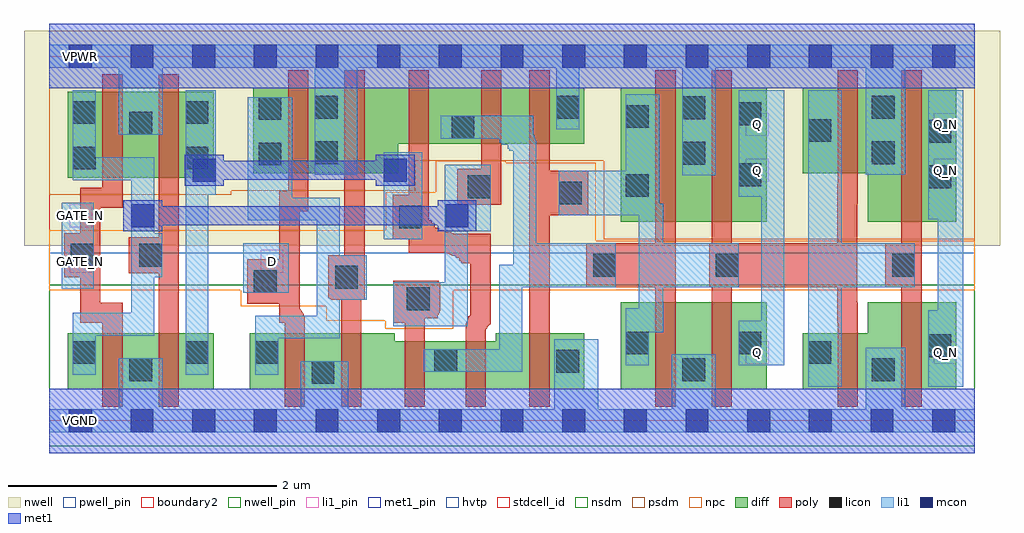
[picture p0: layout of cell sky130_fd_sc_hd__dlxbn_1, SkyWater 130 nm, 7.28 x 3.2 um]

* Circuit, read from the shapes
.subckt sky130_fd_sc_hd__dlxbn_1 D GATE_N Q Q_N VGND VNB VPB VPWR
XM1 VGND GATE_N n1 VNB sky130_fd_pr__nfet_01v8 w=0.42 l=0.15
XM2 n2 n1 VGND VNB sky130_fd_pr__nfet_01v8 w=0.42 l=0.15
XM3 VGND D n3 VNB sky130_fd_pr__nfet_01v8 w=0.42 l=0.15
XM4 n4 n3 VGND VNB sky130_fd_pr__nfet_01v8 w=0.42 l=0.15
XM5 n5 n1 n4 VNB sky130_fd_pr__nfet_01v8 w=0.36 l=0.15
XM6 n6 n2 n5 VNB sky130_fd_pr__nfet_01v8 w=0.36 l=0.15
XM7 VGND n7 n6 VNB sky130_fd_pr__nfet_01v8 w=0.42 l=0.15
XM8 VGND n5 n7 VNB sky130_fd_pr__nfet_01v8 w=0.65 l=0.15
XM9 Q n7 VGND VNB sky130_fd_pr__nfet_01v8 w=0.65 l=0.15
XM10 VGND n7 n8 VNB sky130_fd_pr__nfet_01v8 w=0.42 l=0.15
XM11 Q_N n8 VGND VNB sky130_fd_pr__nfet_01v8 w=0.65 l=0.15
XM12 VPWR GATE_N n1 VPB sky130_fd_pr__pfet_01v8_hvt w=0.64 l=0.15
XM13 n2 n1 VPWR VPB sky130_fd_pr__pfet_01v8_hvt w=0.64 l=0.15
XM14 VPWR D n3 VPB sky130_fd_pr__pfet_01v8_hvt w=0.64 l=0.15
XM15 n9 n3 VPWR VPB sky130_fd_pr__pfet_01v8_hvt w=0.64 l=0.15
XM16 n5 n2 n9 VPB sky130_fd_pr__pfet_01v8_hvt w=0.42 l=0.15
XM17 n10 n1 n5 VPB sky130_fd_pr__pfet_01v8_hvt w=0.42 l=0.15
XM18 VPWR n7 n10 VPB sky130_fd_pr__pfet_01v8_hvt w=0.42 l=0.15
XM19 VPWR n5 n7 VPB sky130_fd_pr__pfet_01v8_hvt w=1 l=0.15
XM20 Q n7 VPWR VPB sky130_fd_pr__pfet_01v8_hvt w=1 l=0.15
XM21 VPWR n7 n8 VPB sky130_fd_pr__pfet_01v8_hvt w=0.64 l=0.15
XM22 Q_N n8 VPWR VPB sky130_fd_pr__pfet_01v8_hvt w=1 l=0.15
.ends

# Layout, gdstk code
import gdstk
lib = gdstk.Library(unit=1e-6, precision=1e-09)
def R(c, l, rs):  # rectangles x0, y0, x1, y1
    for r in rs: c.add(gdstk.rectangle(r[:2], r[2:], *l))
def A(c, l, x, y, w, h, nx, ny, dx, dy):  # array of equal rectangles
    R(c, l, [(x+i*dx, y+j*dy, x+i*dx+w, y+j*dy+h) for i in range(nx) for j in range(ny)])
def P(c, l, *ps):  # polygons
    for p in ps: c.add(gdstk.Polygon(p, *l))
nwell_pin = (64, 16)
nwell = (64, 20)
diff = (65, 20)
poly = (66, 20)
licon = (66, 44)
li1_pin = (67, 16)
li1 = (67, 20)
mcon = (67, 44)
met1_pin = (68, 16)
met1 = (68, 20)
hvtp = (78, 44)
stdcell_id = (81, 4)
nsdm = (93, 44)
psdm = (94, 20)
npc = (95, 20)
pwell_pin = (122, 16)
boundary2 = (236, 0)

sky130_fd_sc_hd__dlxbn_1 = lib.new_cell('sky130_fd_sc_hd__dlxbn_1')
R(sky130_fd_sc_hd__dlxbn_1, nwell_pin, [(0.15,2.635,0.32,2.805), (0.15,2.635,0.32,2.805)])
R(sky130_fd_sc_hd__dlxbn_1, nwell, [(-0.19,1.305,7.09,2.91)])
R(sky130_fd_sc_hd__dlxbn_1, diff, [(0.135,0.235,1.225,0.655), (4.26,0.235,5.35,0.885), (4.26,1.485,5.35,2.485), (0.135,1.815,1.225,2.455)])
P(sky130_fd_sc_hd__dlxbn_1, diff, [(3.99,2.485),(1.52,2.485),(1.52,1.845),(2.6,1.845),(2.6,2.065),(3.99,2.065)],
  [(3.99,0.655),(3.33,0.655),(3.33,0.595),(2.575,0.595),(2.575,0.655),(1.495,0.655),(1.495,0.235),(3.99,0.235)],
  [(6.765,2.485),(5.62,2.485),(5.62,1.845),(6.105,1.845),(6.105,1.485),(6.765,1.485)],
  [(6.765,0.885),(6.105,0.885),(6.105,0.655),(5.62,0.655),(5.62,0.235),(6.765,0.235)])
P(sky130_fd_sc_hd__dlxbn_1, poly, [(0.545,0.88),(0.38,0.88),(0.38,1.59),(0.545,1.59),(0.545,2.585),(0.395,2.585),(0.395,1.74),(0.23,1.74),(0.23,1.4),(0.11,1.4),(0.11,1.07),(0.23,1.07),(0.23,0.73),(0.395,0.73),(0.395,0.105),(0.545,0.105)],
  [(0.965,2.585),(0.815,2.585),(0.815,1.37),(0.59,1.37),(0.59,1.1),(0.815,1.1),(0.815,0.105),(0.965,0.105)],
  [(1.93,2.615),(1.78,2.615),(1.78,1.715),(1.715,1.715),(1.715,1.205),(1.475,1.205),(1.475,0.875),(1.715,0.875),(1.715,0.73),(1.755,0.73),(1.755,0.105),(1.905,0.105),(1.905,0.785),(1.895,0.785),(1.895,0.8),(1.89,0.8),(1.89,0.805),(1.885,0.805),(1.885,0.815),(1.88,0.815),(1.88,0.82),(1.875,0.82),(1.875,0.83),(1.87,0.83),(1.87,0.835),(1.865,0.835),(1.865,1.565),(1.93,1.565)],
  [(2.35,2.615),(2.2,2.615),(2.2,1.235),(2.08,1.235),(2.08,0.915),(2.09,0.915),(2.09,0.91),(2.1,0.91),(2.1,0.905),(2.175,0.905),(2.175,0.105),(2.325,0.105),(2.325,0.905),(2.35,0.905)],
  [(2.915,1.025),(2.91,1.025),(2.91,1.035),(2.905,1.035),(2.905,1.045),(2.565,1.045),(2.565,0.73),(2.65,0.73),(2.65,0.105),(2.8,0.105),(2.8,0.765),(2.895,0.765),(2.895,0.79),(2.905,0.79),(2.905,0.805),(2.91,0.805),(2.91,0.82),(2.915,0.82)],
  [(3.29,1.395),(3.01,1.395),(3.01,1.4),(2.995,1.4),(2.995,1.405),(2.96,1.405),(2.96,1.41),(2.95,1.41),(2.95,1.415),(2.94,1.415),(2.94,1.42),(2.905,1.42),(2.905,1.44),(2.875,1.44),(2.875,1.475),(2.85,1.475),(2.85,1.495),(2.83,1.495),(2.83,2.615),(2.68,2.615),(2.68,1.685),(2.56,1.685),(2.56,1.355),(2.68,1.355),(2.68,1.255),(2.955,1.255),(2.955,1.25),(2.97,1.25),(2.97,1.245),(2.985,1.245),(2.985,1.24),(2.995,1.24),(2.995,1.235),(3.005,1.235),(3.005,1.23),(3.03,1.23),(3.03,1.215),(3.055,1.215),(3.055,1.195),(3.07,1.195),(3.07,1.175),(3.14,1.175),(3.14,0.785),(3.135,0.785),(3.135,0.78),(3.125,0.78),(3.125,0.765),(3.12,0.765),(3.12,0.755),(3.115,0.755),(3.115,0.74),(3.11,0.74),(3.11,0.725),(3.105,0.725),(3.105,0.105),(3.255,0.105),(3.255,0.685),(3.26,0.685),(3.26,0.695),(3.265,0.695),(3.265,0.7),(3.27,0.7),(3.27,0.71),(3.275,0.71),(3.275,0.715),(3.285,0.715),(3.285,0.72),(3.29,0.72)],
  [(3.37,2.615),(3.22,2.615),(3.22,1.88),(3.04,1.88),(3.04,1.625),(3.045,1.625),(3.045,1.615),(3.05,1.615),(3.05,1.61),(3.37,1.61)],
  [(4.02,1.865),(3.73,1.865),(3.73,2.615),(3.58,2.615),(3.58,0.105),(3.73,0.105),(3.73,1.535),(4.02,1.535)],
  [(4.67,2.615),(4.52,2.615),(4.52,1.325),(4.005,1.325),(4.005,0.995),(4.52,0.995),(4.52,0.105),(4.67,0.105)],
  [(6.03,0.88),(6.025,0.88),(6.025,1.62),(6.03,1.62),(6.03,2.615),(5.88,2.615),(5.88,1.77),(5.875,1.77),(5.875,1.325),(5.09,1.325),(5.09,2.615),(4.94,2.615),(4.94,1.325),(4.92,1.325),(4.92,0.995),(4.94,0.995),(4.94,0.105),(5.09,0.105),(5.09,0.995),(5.875,0.995),(5.875,0.73),(5.88,0.73),(5.88,0.105),(6.03,0.105)],
  [(6.505,2.615),(6.355,2.615),(6.355,1.325),(6.235,1.325),(6.235,0.995),(6.355,0.995),(6.355,0.105),(6.505,0.105)])
R(sky130_fd_sc_hd__dlxbn_1, licon, [(1.955,0.275,2.125,0.445), (0.595,0.295,0.765,0.465), (4.72,0.295,4.89,0.465), (6.135,0.295,6.305,0.465), (3.78,0.36,3.95,0.53), (2.87,0.365,3.04,0.535), (0.175,0.425,0.345,0.595), (1.015,0.425,1.185,0.595), (1.535,0.425,1.705,0.595), (5.66,0.425,5.83,0.595), (6.555,0.475,6.725,0.645), (4.3,0.495,4.47,0.665), (5.14,0.495,5.31,0.665), (2.665,0.825,2.835,0.995), (1.525,0.955,1.695,1.125), (2.13,0.985,2.3,1.155), (4.055,1.075,4.225,1.245), (4.97,1.075,5.14,1.245), (6.285,1.075,6.455,1.245), (0.16,1.15,0.33,1.32), (0.67,1.15,0.84,1.32), (2.61,1.435,2.78,1.605), (3.8,1.615,3.97,1.785), (3.12,1.66,3.29,1.83), (4.3,1.67,4.47,1.84), (6.555,1.735,6.725,1.905), (5.14,1.75,5.31,1.92), (0.175,1.875,0.345,2.045), (1.015,1.875,1.185,2.045), (1.56,1.905,1.73,2.075), (4.72,1.91,4.89,2.08), (1.98,1.915,2.15,2.085), (6.135,1.915,6.305,2.085), (6.555,2.075,6.725,2.245), (5.66,2.08,5.83,2.25), (3,2.105,3.17,2.275), (0.595,2.135,0.765,2.305), (4.3,2.185,4.47,2.355), (5.14,2.205,5.31,2.375), (0.175,2.215,0.345,2.385), (1.015,2.215,1.185,2.385), (1.56,2.245,1.73,2.415), (4.72,2.25,4.89,2.42), (1.98,2.255,2.15,2.425), (3.78,2.255,3.95,2.425), (6.135,2.255,6.305,2.425)])
R(sky130_fd_sc_hd__dlxbn_1, li1_pin, [(5.195,0.425,5.365,0.595), (6.595,0.425,6.765,0.595), (0.15,1.105,0.32,1.275), (1.575,1.105,1.745,1.275), (0.15,1.445,0.32,1.615), (5.195,1.785,5.365,1.955), (6.595,1.785,6.765,1.955), (5.195,2.125,5.365,2.295), (6.595,2.125,6.765,2.295)])
R(sky130_fd_sc_hd__dlxbn_1, li1, [(1.445,0.955,1.785,1.325), (0.09,0.985,0.33,1.625), (2.495,1.355,2.78,2.005)])
P(sky130_fd_sc_hd__dlxbn_1, li1, [(0.84,1.4),(0.78,1.4),(0.78,1.965),(0.345,1.965),(0.345,2.465),(0.175,2.465),(0.175,1.795),(0.61,1.795),(0.61,0.805),(0.175,0.805),(0.175,0.345),(0.345,0.345),(0.345,0.635),(0.78,0.635),(0.78,1.07),(0.84,1.07)],
  [(1.24,2.465),(1.015,2.465),(1.015,0.345),(1.185,0.345),(1.185,1.685),(1.24,1.685)],
  [(2.365,1.235),(2.165,1.235),(2.165,1.665),(1.81,1.665),(1.81,2.415),(1.48,2.415),(1.48,1.495),(1.995,1.495),(1.995,0.785),(1.535,0.785),(1.535,0.345),(1.705,0.345),(1.705,0.615),(2.165,0.615),(2.165,0.905),(2.365,0.905)],
  [(3.29,1.91),(2.95,1.91),(2.95,1.035),(2.565,1.035),(2.565,0.705),(3.12,0.705),(3.12,1.415),(3.29,1.415)],
  [(4.225,1.325),(3.63,1.325),(3.63,2.09),(3.625,2.09),(3.625,2.105),(3.62,2.105),(3.62,2.115),(3.615,2.115),(3.615,2.13),(3.61,2.13),(3.61,2.275),(2.92,2.275),(2.92,2.105),(3.36,2.105),(3.36,2.075),(3.375,2.075),(3.375,2.06),(3.42,2.06),(3.42,2.03),(3.43,2.03),(3.43,2.015),(3.46,2.015),(3.46,1.165),(3.355,1.165),(3.355,0.535),(2.79,0.535),(2.79,0.365),(3.525,0.365),(3.525,0.995),(4.225,0.995)],
  [(5.14,1.325),(4.58,1.325),(4.58,1.62),(4.55,1.62),(4.55,2.435),(4.3,2.435),(4.3,1.865),(3.8,1.865),(3.8,1.535),(4.395,1.535),(4.395,0.84),(4.3,0.84),(4.3,0.415),(4.47,0.415),(4.47,0.66),(4.58,0.66),(4.58,0.995),(5.14,0.995)],
  [(5.48,2.465),(5.14,2.465),(5.14,1.67),(5.31,1.67),(5.31,0.745),(5.14,0.745),(5.14,0.415),(5.48,0.415)],
  [(6.455,1.325),(5.91,1.325),(5.91,2.465),(5.66,2.465),(5.66,0.255),(5.91,0.255),(5.91,0.995),(6.455,0.995)],
  [(6.9,2.805),(0,2.805),(0,2.635),(0.515,2.635),(0.515,2.135),(0.845,2.135),(0.845,2.635),(1.98,2.635),(1.98,1.835),(2.295,1.835),(2.295,2.635),(3.78,2.635),(3.78,2.175),(3.95,2.175),(3.95,2.635),(4.72,2.635),(4.72,1.83),(4.97,1.83),(4.97,2.635),(6.09,2.635),(6.09,1.835),(6.385,1.835),(6.385,2.635),(6.9,2.635)],
  [(6.9,0.085),(6.385,0.085),(6.385,0.545),(6.09,0.545),(6.09,0.085),(4.97,0.085),(4.97,0.495),(4.64,0.495),(4.64,0.085),(4.095,0.085),(4.095,0.61),(3.765,0.61),(3.765,0.085),(2.23,0.085),(2.23,0.445),(1.875,0.445),(1.875,0.085),(0.845,0.085),(0.845,0.465),(0.515,0.465),(0.515,0.085),(0,0.085),(0,-0.085),(6.9,-0.085)],
  [(6.815,2.465),(6.555,2.465),(6.555,1.505),(6.625,1.505),(6.625,0.825),(6.555,0.825),(6.555,0.255),(6.815,0.255)])
A(sky130_fd_sc_hd__dlxbn_1, mcon, 0.145, -0.085, 0.17, 0.17, 15, 2, 0.46, 2.72)
R(sky130_fd_sc_hd__dlxbn_1, mcon, [(0.61,1.445,0.78,1.615), (2.955,1.445,3.125,1.615), (1.07,1.785,1.24,1.955), (2.495,1.785,2.665,1.955)])
R(sky130_fd_sc_hd__dlxbn_1, met1_pin, [(0.15,-0.085,0.32,0.085), (0.15,-0.085,0.32,0.085), (0.15,2.635,0.32,2.805), (0.15,2.635,0.32,2.805)])
R(sky130_fd_sc_hd__dlxbn_1, met1, [(0,-0.24,6.9,0.24), (0,2.48,6.9,2.96)])
P(sky130_fd_sc_hd__dlxbn_1, met1, [(2.725,1.985),(2.435,1.985),(2.435,1.94),(1.3,1.94),(1.3,1.985),(1.01,1.985),(1.01,1.755),(1.3,1.755),(1.3,1.8),(2.435,1.8),(2.435,1.755),(2.725,1.755)],
  [(3.185,1.645),(2.895,1.645),(2.895,1.6),(0.84,1.6),(0.84,1.645),(0.55,1.645),(0.55,1.415),(0.84,1.415),(0.84,1.46),(2.895,1.46),(2.895,1.415),(3.185,1.415)])
R(sky130_fd_sc_hd__dlxbn_1, hvtp, [(0,1.25,6.9,2.72)])
R(sky130_fd_sc_hd__dlxbn_1, stdcell_id, [(0,0,6.9,2.72)])
R(sky130_fd_sc_hd__dlxbn_1, nsdm, [(0,-0.19,6.9,1.015)])
P(sky130_fd_sc_hd__dlxbn_1, psdm, [(6.9,2.91),(0,2.91),(0,1.685),(1.355,1.685),(1.355,1.715),(2.73,1.715),(2.73,1.94),(4.135,1.94),(4.135,1.355),(6.9,1.355)])
P(sky130_fd_sc_hd__dlxbn_1, npc, [(6.9,1.345),(4.075,1.345),(4.075,1.925),(3.405,1.925),(3.405,1.94),(2.88,1.94),(2.88,1.705),(2.51,1.705),(2.51,1.42),(0,1.42),(0,0.975),(1.425,0.975),(1.425,0.855),(2.065,0.855),(2.065,0.745),(2.505,0.745),(2.505,0.685),(3.01,0.685),(3.01,0.975),(6.9,0.975)])
R(sky130_fd_sc_hd__dlxbn_1, pwell_pin, [(0.15,-0.085,0.32,0.085), (0.15,-0.085,0.32,0.085)])
R(sky130_fd_sc_hd__dlxbn_1, boundary2, [(0,0,6.9,2.72)])
sky130_fd_sc_hd__dlxbn_1.add(gdstk.Label('Q_N', (6.68,0.51), layer=67, texttype=5))
sky130_fd_sc_hd__dlxbn_1.add(gdstk.Label('D', (1.66,1.19), layer=67, texttype=5))
sky130_fd_sc_hd__dlxbn_1.add(gdstk.Label('GATE_N', (0.23,1.19), layer=67, texttype=5))
sky130_fd_sc_hd__dlxbn_1.add(gdstk.Label('Q', (5.28,1.87), layer=67, texttype=5))
sky130_fd_sc_hd__dlxbn_1.add(gdstk.Label('GATE_N', (0.23,1.53), layer=67, texttype=5))
sky130_fd_sc_hd__dlxbn_1.add(gdstk.Label('Q', (5.28,2.21), layer=67, texttype=5))
sky130_fd_sc_hd__dlxbn_1.add(gdstk.Label('Q', (5.28,0.51), layer=67, texttype=5))
sky130_fd_sc_hd__dlxbn_1.add(gdstk.Label('Q_N', (6.68,1.87), layer=67, texttype=5))
sky130_fd_sc_hd__dlxbn_1.add(gdstk.Label('Q_N', (6.68,2.21), layer=67, texttype=5))
sky130_fd_sc_hd__dlxbn_1.add(gdstk.Label('VGND', (0.235,0), layer=68, texttype=5))
sky130_fd_sc_hd__dlxbn_1.add(gdstk.Label('VPWR', (0.235,2.72), layer=68, texttype=5))
sky130_fd_sc_hd__dlxbn_1.add(gdstk.Label('VPWR', (0.235,2.72), layer=68, texttype=5))
sky130_fd_sc_hd__dlxbn_1.add(gdstk.Label('VGND', (0.235,0), layer=68, texttype=5))
sky130_fd_sc_hd__dlxbn_1.add(gdstk.Label('VPB', (0.235,2.72), layer=64, texttype=5))
sky130_fd_sc_hd__dlxbn_1.add(gdstk.Label('VPB', (0.235,2.72), layer=64, texttype=5))
sky130_fd_sc_hd__dlxbn_1.add(gdstk.Label('VPB', (0.235,2.72), layer=64, texttype=5))
sky130_fd_sc_hd__dlxbn_1.add(gdstk.Label('VNB', (0.235,0), layer=64, texttype=59))
sky130_fd_sc_hd__dlxbn_1.add(gdstk.Label('VNB', (0.235,0), layer=64, texttype=59))
sky130_fd_sc_hd__dlxbn_1.add(gdstk.Label('VNB', (0.235,0), layer=64, texttype=59))
sky130_fd_sc_hd__dlxbn_1.add(gdstk.Label('dlxbn_1', (0,0), layer=83, texttype=44))

lib.write_gds('sky130_fd_sc_hd__dlxbn_1.gds')
